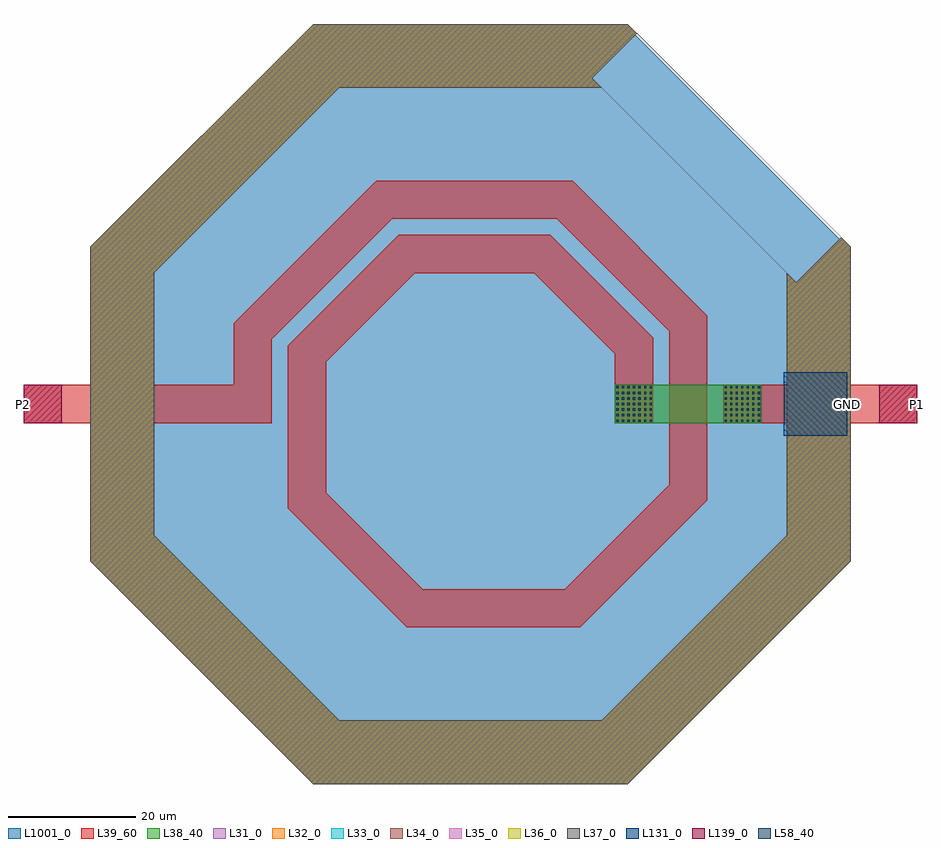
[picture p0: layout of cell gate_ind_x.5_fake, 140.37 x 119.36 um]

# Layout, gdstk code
import gdstk
lib = gdstk.Library(unit=1e-6, precision=1e-09)
def R(c, l, rs):  # rectangles x0, y0, x1, y1
    for r in rs: c.add(gdstk.rectangle(r[:2], r[2:], *l))
def A(c, l, x, y, w, h, nx, ny, dx, dy):  # array of equal rectangles
    R(c, l, [(x+i*dx, y+j*dy, x+i*dx+w, y+j*dy+h) for i in range(nx) for j in range(ny)])
def P(c, l, *ps):  # polygons
    for p in ps: c.add(gdstk.Polygon(p, *l))
L31_0 = (31, 0)
L32_0 = (32, 0)
L33_0 = (33, 0)
L34_0 = (34, 0)
L35_0 = (35, 0)
L36_0 = (36, 0)
L37_0 = (37, 0)
L38_40 = (38, 40)
L39_60 = (39, 60)
L58_40 = (58, 40)
L131_0 = (131, 0)
L139_0 = (139, 0)
L1001_0 = (1001, 0)

gate_ind_x_5_fake = lib.new_cell('gate_ind_x.5_fake')
P(gate_ind_x_5_fake, L31_0, [(51.143,19.113),(58.214,26.184),(24.72,59.679),(-24.72,59.679),(-59.679,24.72),(-59.679,-24.72),(-24.72,-59.679),(24.72,-59.679),(59.679,-24.72),(59.679,24.72),(26.184,58.214),(19.113,51.143),(49.679,20.578),(49.679,-20.578),(20.578,-49.679),(-20.578,-49.679),(-49.679,-20.578),(-49.679,20.578),(-20.578,49.679),(20.578,49.679)])
P(gate_ind_x_5_fake, L32_0, [(51.143,19.113),(58.214,26.184),(24.72,59.679),(-24.72,59.679),(-59.679,24.72),(-59.679,-24.72),(-24.72,-59.679),(24.72,-59.679),(59.679,-24.72),(59.679,24.72),(26.184,58.214),(19.113,51.143),(49.679,20.578),(49.679,-20.578),(20.578,-49.679),(-20.578,-49.679),(-49.679,-20.578),(-49.679,20.578),(-20.578,49.679),(20.578,49.679)])
P(gate_ind_x_5_fake, L33_0, [(51.143,19.113),(58.214,26.184),(24.72,59.679),(-24.72,59.679),(-59.679,24.72),(-59.679,-24.72),(-24.72,-59.679),(24.72,-59.679),(59.679,-24.72),(59.679,24.72),(26.184,58.214),(19.113,51.143),(49.679,20.578),(49.679,-20.578),(20.578,-49.679),(-20.578,-49.679),(-49.679,-20.578),(-49.679,20.578),(-20.578,49.679),(20.578,49.679)])
P(gate_ind_x_5_fake, L34_0, [(51.143,19.113),(58.214,26.184),(24.72,59.679),(-24.72,59.679),(-59.679,24.72),(-59.679,-24.72),(-24.72,-59.679),(24.72,-59.679),(59.679,-24.72),(59.679,24.72),(26.184,58.214),(19.113,51.143),(49.679,20.578),(49.679,-20.578),(20.578,-49.679),(-20.578,-49.679),(-49.679,-20.578),(-49.679,20.578),(-20.578,49.679),(20.578,49.679)])
P(gate_ind_x_5_fake, L35_0, [(51.143,19.113),(58.214,26.184),(24.72,59.679),(-24.72,59.679),(-59.679,24.72),(-59.679,-24.72),(-24.72,-59.679),(24.72,-59.679),(59.679,-24.72),(59.679,24.72),(26.184,58.214),(19.113,51.143),(49.679,20.578),(49.679,-20.578),(20.578,-49.679),(-20.578,-49.679),(-49.679,-20.578),(-49.679,20.578),(-20.578,49.679),(20.578,49.679)])
P(gate_ind_x_5_fake, L36_0, [(51.143,19.113),(58.214,26.184),(24.72,59.679),(-24.72,59.679),(-59.679,24.72),(-59.679,-24.72),(-24.72,-59.679),(24.72,-59.679),(59.679,-24.72),(59.679,24.72),(26.184,58.214),(19.113,51.143),(49.679,20.578),(49.679,-20.578),(20.578,-49.679),(-20.578,-49.679),(-49.679,-20.578),(-49.679,20.578),(-20.578,49.679),(20.578,49.679)])
P(gate_ind_x_5_fake, L37_0, [(51.143,19.113),(58.214,26.184),(24.72,59.679),(-24.72,59.679),(-59.679,24.72),(-59.679,-24.72),(-24.72,-59.679),(24.72,-59.679),(59.679,-24.72),(59.679,24.72),(26.184,58.214),(19.113,51.143),(49.679,20.578),(49.679,-20.578),(20.578,-49.679),(-20.578,-49.679),(-49.679,-20.578),(-49.679,20.578),(-20.578,49.679),(20.578,49.679)])
R(gate_ind_x_5_fake, L38_40, [(22.685,-3,45.685,3)])
P(gate_ind_x_5_fake, L38_40, [(51.143,19.113),(58.214,26.184),(24.72,59.679),(-24.72,59.679),(-59.679,24.72),(-59.679,-24.72),(-24.72,-59.679),(24.72,-59.679),(59.679,-24.72),(59.679,24.72),(26.184,58.214),(19.113,51.143),(49.679,20.578),(49.679,-20.578),(20.578,-49.679),(-20.578,-49.679),(-49.679,-20.578),(-49.679,20.578),(-20.578,49.679),(20.578,49.679)])
R(gate_ind_x_5_fake, L39_60, [(-70.185,-3,-31.185,3), (39.685,-3,70.185,3)])
P(gate_ind_x_5_fake, L39_60, [(22.685,-3),(28.685,-3),(28.685,10.378),(12.503,26.56),(-11.258,26.56),(-28.685,9.133),(-28.685,-16.388),(-10.013,-35.06),(17.268,-35.06),(37.185,-15.143),(37.185,13.898),(16.023,35.06),(-14.778,35.06),(-37.185,12.653),(-37.185,0),(-31.185,0),(-31.185,10.167),(-12.292,29.06),(13.537,29.06),(31.185,11.412),(31.185,-12.657),(14.782,-29.06),(-7.527,-29.06),(-22.685,-13.902),(-22.685,6.647),(-8.772,20.56),(10.017,20.56),(22.685,7.892)],
  [(51.143,19.113),(58.214,26.184),(24.72,59.679),(-24.72,59.679),(-59.679,24.72),(-59.679,-24.72),(-24.72,-59.679),(24.72,-59.679),(59.679,-24.72),(59.679,24.72),(26.184,58.214),(19.113,51.143),(49.679,20.578),(49.679,-20.578),(20.578,-49.679),(-20.578,-49.679),(-49.679,-20.578),(-49.679,20.578),(-20.578,49.679),(20.578,49.679)])
A(gate_ind_x_5_fake, L58_40, 22.899, -2.785, 0.35, 0.35, 7, 7, 0.87, 0.87)
A(gate_ind_x_5_fake, L58_40, 39.899, -2.785, 0.35, 0.35, 7, 7, 0.87, 0.87)
R(gate_ind_x_5_fake, L131_0, [(49.185,-5,59.185,5)])
R(gate_ind_x_5_fake, L139_0, [(-70.185,-3,-64.185,3), (64.185,-3,70.185,3)])
P(gate_ind_x_5_fake, L1001_0, [(59.298,24.562),(24.562,59.298),(-24.562,59.298),(-59.298,24.562),(-59.298,-24.562),(-24.562,-59.298),(24.562,-59.298),(59.298,-24.562)],
  [(59.298,24.562),(24.562,59.298),(-24.562,59.298),(-59.298,24.562),(-59.298,-24.562),(-24.562,-59.298),(24.562,-59.298),(59.298,-24.562)],
  [(59.298,24.562),(24.562,59.298),(-24.562,59.298),(-59.298,24.562),(-59.298,-24.562),(-24.562,-59.298),(24.562,-59.298),(59.298,-24.562)],
  [(59.298,24.562),(24.562,59.298),(-24.562,59.298),(-59.298,24.562),(-59.298,-24.562),(-24.562,-59.298),(24.562,-59.298),(59.298,-24.562)],
  [(59.298,24.562),(24.562,59.298),(-24.562,59.298),(-59.298,24.562),(-59.298,-24.562),(-24.562,-59.298),(24.562,-59.298),(59.298,-24.562)],
  [(59.298,24.562),(24.562,59.298),(-24.562,59.298),(-59.298,24.562),(-59.298,-24.562),(-24.562,-59.298),(24.562,-59.298),(59.298,-24.562)],
  [(59.298,24.562),(24.562,59.298),(-24.562,59.298),(-59.298,24.562),(-59.298,-24.562),(-24.562,-59.298),(24.562,-59.298),(59.298,-24.562)],
  [(59.298,24.562),(24.562,59.298),(-24.562,59.298),(-59.298,24.562),(-59.298,-24.562),(-24.562,-59.298),(24.562,-59.298),(59.298,-24.562)],
  [(59.298,24.562),(24.562,59.298),(-24.562,59.298),(-59.298,24.562),(-59.298,-24.562),(-24.562,-59.298),(24.562,-59.298),(59.298,-24.562)])
gate_ind_x_5_fake.add(gdstk.Label('P1', (70.184,0), layer=139, texttype=0))
gate_ind_x_5_fake.add(gdstk.Label('P2', (-70.184,0), layer=139, texttype=0))
gate_ind_x_5_fake.add(gdstk.Label('GND', (59.184,0), layer=131, texttype=0))

lib.write_gds('gate_ind_x.5_fake.gds')
